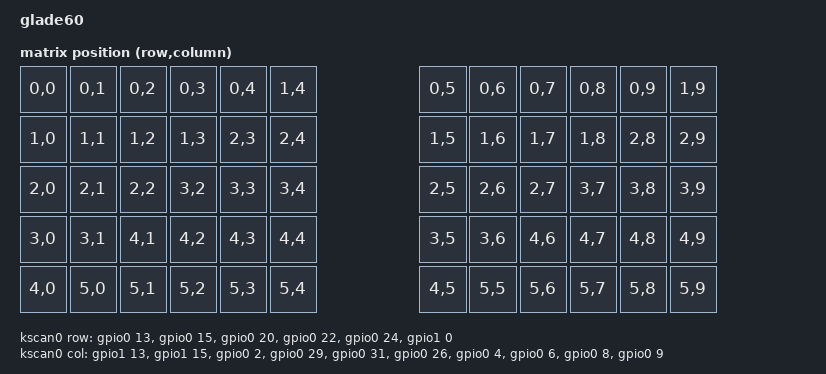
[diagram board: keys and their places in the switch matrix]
/dts-v1/;
#include <nordic/nrf52840_qiaa.dtsi>
#include <dt-bindings/zmk/matrix_transform.h>

/ {
	model = "glade60";
	compatible = "glade60";

	chosen {
		zephyr,code-partition = &code_partition;
		zephyr,sram = &sram0;
		zephyr,flash = &flash0;
		zmk,kscan = &kscan0;
		zmk,matrix_transform = &default_transform;
    //zmk,battery = &vbatt;
	};

    kscan0: kscan_0 {
        compatible = "zmk,kscan-gpio-matrix";
        label = "KSCAN";
        diode-direction = "col2row";

        col-gpios
            = <&gpio1 13 GPIO_ACTIVE_HIGH>
            , <&gpio1 15 GPIO_ACTIVE_HIGH>
            , <&gpio0 2 GPIO_ACTIVE_HIGH>
            , <&gpio0 29 GPIO_ACTIVE_HIGH>
            , <&gpio0 31 GPIO_ACTIVE_HIGH>
            , <&gpio0 26 GPIO_ACTIVE_HIGH>
            , <&gpio0 4 GPIO_ACTIVE_HIGH>
            , <&gpio0 6 GPIO_ACTIVE_HIGH>
            , <&gpio0 8 GPIO_ACTIVE_HIGH>
            , <&gpio0 9 GPIO_ACTIVE_HIGH>
            ;

        row-gpios
            = <&gpio0 13 (GPIO_ACTIVE_HIGH | GPIO_PULL_DOWN)>
            , <&gpio0 15 (GPIO_ACTIVE_HIGH | GPIO_PULL_DOWN)>
            , <&gpio0 20 (GPIO_ACTIVE_HIGH | GPIO_PULL_DOWN)>
            , <&gpio0 22 (GPIO_ACTIVE_HIGH | GPIO_PULL_DOWN)>
            , <&gpio0 24 (GPIO_ACTIVE_HIGH | GPIO_PULL_DOWN)>
            , <&gpio1 0  (GPIO_ACTIVE_HIGH | GPIO_PULL_DOWN)>
            ;
    };

    default_transform: keymap_transform_0 {
        compatible = "zmk,matrix-transform";
        columns = <12>;
        rows = <5>;

// |  MX1   |  MX7   |  MX13  |  MX19  |  MX25  |  MX26  |              |  MX31  |  MX37  |  MX43  |  MX49  |  MX55  |  MX56  |
// |  MX2   |  MX8   |  MX14  |  MX20  |  MX21  |  MX27  |              |  MX32  |  MX38  |  MX44  |  MX50  |  MX51  |  MX57  |
// |  MX3   |  MX9   |  MX15  |  MX16  |  MX22  |  MX28  |              |  MX33  |  MX39  |  MX45  |  MX46  |  MX52  |  MX58  |
// |  MX4   |  MX10  |  MX11  |  MX17  |  MX23  |  MX29  |              |  MX34  |  MX40  |  MX41  |  MX47  |  MX53  |  MX59  |
// |  MX5   |  MX6   |  MX12  |  MX28  |  MX24  |  MX30  |              |  MX35  |  MX36  |  MX42  |  MX48  |  MX54  |  MX60  |
        map = <
    RC(0,0)  RC(0,1)  RC(0,2)  RC(0,3)  RC(0,4)  RC(1,4)                 RC(0,5)  RC(0,6)   RC(0,7)  RC(0,8)  RC(0,9)  RC(1,9)
    RC(1,0)  RC(1,1)  RC(1,2)  RC(1,3)  RC(2,3)  RC(2,4)                 RC(1,5)  RC(1,6)   RC(1,7)  RC(1,8)  RC(2,8)  RC(2,9)
    RC(2,0)  RC(2,1)  RC(2,2)  RC(3,2)  RC(3,3)  RC(3,4)                 RC(2,5)  RC(2,6)   RC(2,7)  RC(3,7)  RC(3,8)  RC(3,9)
    RC(3,0)  RC(3,1)  RC(4,1)  RC(4,2)  RC(4,3)  RC(4,4)                 RC(3,5)  RC(3,6)   RC(4,6)  RC(4,7)  RC(4,8)  RC(4,9)
    RC(4,0)  RC(5,0)  RC(5,1)  RC(5,2)  RC(5,3)  RC(5,4)                 RC(4,5)  RC(5,5)   RC(5,6)  RC(5,7)  RC(5,8)  RC(5,9)
        >;
    };

	/*vbatt: vbatt {
		compatible = "zmk,battery-voltage-divider";
		label = "VBATT";
		io-channels = <&adc 7>; 
		output-ohms = <2000000>;
		full-ohms = <(2000000 + 820000)>;
	};*/
};

&adc {
	status = "okay";
};

&gpiote {
	status = "okay";
};

&gpio0 {
	status = "okay";
};

&gpio1 {
	status = "okay";
};

&usbd {
	status = "okay";
};

&flash0 {
	/*
	 * For more information, see:
	 * http://docs.zephyrproject.org/latest/devices/dts/flash_partitions.html
	 */
	partitions {
		compatible = "fixed-partitions";
		#address-cells = <1>;
		#size-cells = <1>;

		sd_partition: partition@0 {
			label = "softdevice";
			reg = <0x00000000 0x00026000>;
		};
		code_partition: partition@26000 {
			label = "code_partition";
			reg = <0x00026000 0x000c6000>;
		};

		/*
		 * The flash starting at 0x000ec000 and ending at
		 * 0x000f3fff is reserved for use by the application.
		 */

		/*
		 * Storage partition will be used by FCB/LittleFS/NVS
		 * if enabled.
		 */
		storage_partition: partition@ec000 {
			label = "storage";
			reg = <0x000ec000 0x00008000>;
		};

		boot_partition: partition@f4000 {
			label = "adafruit_boot";
			reg = <0x000f4000 0x0000c000>;
		};
	};
};
